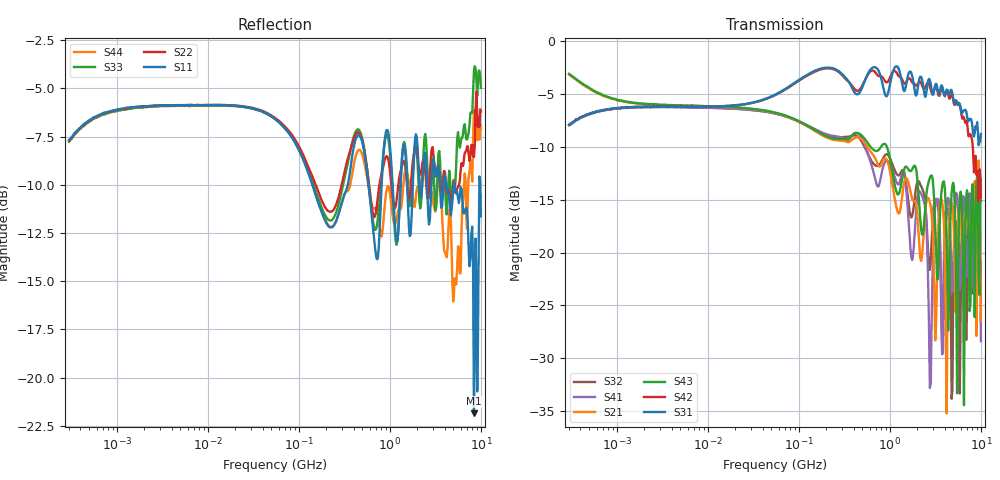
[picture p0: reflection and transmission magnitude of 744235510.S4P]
! This data is being provided by Wuerth Elektronik eiSos GmbH & Co. KG to the industry for analysis.
! Document information:
! Version:rev19a Date: 16/12/2019
! Component information:
! Match Code: WE-CNSW P/N: 744235510 Size: 1812
! Disclaimer:  While Würth Elektronik eiSos has made every reasonable effort to ensure the accuracy
! of the information provided, Würth Elektronik eiSos does not guarantee the exemption of error on the
! data collection measurements, nor does Würth Elektronik eiSos guarantee that the information is current.
! Würth Elektronik eiSos reserves the right to make any adjustments at any time without notice.
! Würth Elektronik eiSos expressly disclaims all implied warranties regarding this measurement data collection.
! Note 1  This data measurement is representative according to the product implementation into the fixture.
! Component behavior is sensitive to implementation into the fixture, which includes board
! materials, trace geometry information, connector pin out, layer connection, use of de-embedding
! techniques, etc.
! Note 2 - The fixture was designed specifically to match the 50 Ohm line impedance, as well as the connector impedance,
! in order to accomplish a reliable measurement without reflections in the trace. Any other implementation of the fixture will change the obtained
! measurement performance. The used fixture behavior was de-embedded to accomplish reliable measurement results.
! The test setup consisted of the following:
!  - Agilent VNA E5071C or E5071B
!  - Calibrations are SOLT (short open load thru)
!  - De-embedding of the SMA's or line cards were included
!  - Equipment Settings -
!  - Sampling - 501 points
!  - IF BW  70 kHz
!  - Averaging  Not used
!  Port 1----->|1|  |2| -----> Port 3
!  |  DUT  |
!  Port 2----->|3|  |4| -----> Port 4
!*VNA Port --> |Port in Datasheet|
! |Port in Datasheet| --> VNA Port
! For further information regarding this testing, please contact
! Wuerth Elektronik eiSos
! Contact: EDA team in QDC
! Email: libraries@we-online.com or libraries@we-online.de
# Hz S dB R 50
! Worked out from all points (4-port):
!   501 points, 300 kHz to 10 GHz, reference 50 ohm
!   strongest paths, dB at 300 kHz, 4.054 MHz, 54.77 MHz, 740.1 MHz, 10 GHz:
!     S31: -7.9, -6.2, -5.1, -2.7, -8.8
!     S42: -7.9, -6.2, -5.1, -3.3, -14.8
!     S43: -3.1, -6.1, -6.8, -10.3, -13.0
!     S21: -3.2, -6.1, -6.8, -11.7, -26.5
!     S41: -8.0, -6.2, -6.8, -13.8, -28.4
!     S32: -7.9, -6.2, -6.8, -11.8, -15.1
!   lowest |S11| = -21.8 dB at 8.39 GHz (marker M1), VSWR 1.18, Z = 43.2 - j3.31 ohm
!   |S11| at or under -10 dB: 1.073 GHz to 1.312 GHz (238.6 MHz wide, 20 % of centre); 4.162 GHz to 5.024 GHz (861.3 MHz wide, 18.8 % of centre); 5.123 GHz to 9.621 GHz (4.498 GHz wide, 61 % of centre)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
300000  -7.68 33.3  -3.16 -19.1  -7.86 34.5  -7.93 -145.4
        -3.17 -19.3  -7.70 33.6  -7.91 -145.7  -7.92 34.7
        -7.93 34.0  -7.93 -145.7  -7.75 34.7  -3.08 -19.4
        -7.95 -145.8  -7.90 34.7  -3.09 -19.4  -7.77 34.5
1.133796e9  -11.95 -44.4  -14.94 -105.4  -2.48 -19.4  -12.90 77.0
            -14.94 -105.4  -11.23 -29.6  -12.25 79.6  -2.82 -22.9
            -2.48 -19.4  -12.24 79.7  -12.39 -38.2  -13.63 -90.3
            -12.90 77.0  -2.82 -22.9  -13.63 -90.4  -12.07 -31.6
2.35178e9  -8.93 -40.3  -18.08 119.2  -4.50 -54.7  -15.10 2.6
           -18.26 119.1  -8.69 -42.4  -14.39 -2.8  -4.53 -47.3
           -4.50 -54.7  -14.35 -3.0  -8.20 -25.8  -17.70 171.6
           -15.07 3.1  -4.53 -47.3  -17.71 171.8  -9.18 -43.2
2.748926e9  -11.82 -52.2  -15.15 3.0  -3.67 -58.5  -33.14 -136.7
            -15.24 3.2  -9.55 -38.1  -21.71 -162.6  -4.30 -57.4
            -3.67 -58.5  -21.64 -162.9  -10.55 -45.2  -12.97 33.0
            -32.82 -133.5  -4.29 -57.5  -12.95 33.1  -10.09 -57.0
3.286603e9  -9.48 -66.5  -22.38 100.8  -4.19 -68.9  -14.96 3.2
            -22.76 100.6  -9.34 -56.0  -15.10 0.7  -4.56 -65.9
            -4.20 -69.0  -15.05 0.6  -10.31 -40.9  -21.90 -140.7
            -14.91 3.7  -4.53 -66.0  -21.91 -140.5  -10.65 -54.8
8.390004e9  -21.85 -152.0  -13.99 -106.5  -9.09 -173.0  -15.56 -108.8
            -14.11 -105.3  -8.56 -116.0  -18.29 -90.4  -12.35 -170.8
            -9.03 -173.5  -18.36 -90.0  -4.10 -115.7  -18.46 -169.3
            -15.64 -109.7  -12.43 -170.3  -18.42 -169.5  -6.12 -97.2
1e10  -11.63 -113.3  -25.64 -102.6  -8.78 146.3  -28.45 174.9
      -26.47 -105.9  -6.20 -176.5  -15.03 -116.8  -14.86 171.4
      -8.77 146.2  -15.12 -116.4  -4.97 -174.6  -13.06 -112.2
      -28.40 173.4  -14.85 171.9  -13.03 -112.3  -7.12 -126.1
